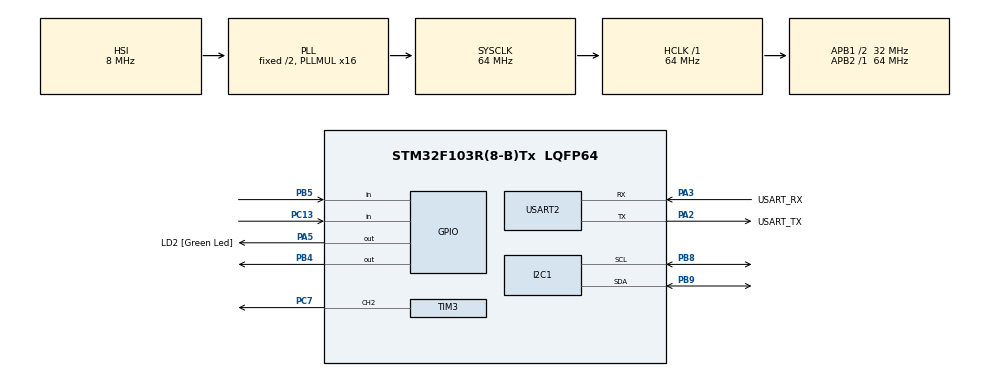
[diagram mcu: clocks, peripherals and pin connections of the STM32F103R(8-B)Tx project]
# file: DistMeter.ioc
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Mcu.Family=STM32F1
Mcu.Name=STM32F103R(8-B)Tx
Mcu.Package=LQFP64
NVIC.PriorityGroup=NVIC_PRIORITYGROUP_4
PA13.GPIO_Label=TMS
PA13.Mode=Serial_Wire
PA13.Signal=SYS_JTMS-SWDIO
PA14.GPIO_Label=TCK
PA14.Mode=Serial_Wire
PA14.Signal=SYS_JTCK-SWCLK
PA2.GPIO_Label=USART_TX
PA2.GPIO_Mode=GPIO_MODE_AF_PP
PA2.GPIO_PuPd=GPIO_NOPULL
PA2.GPIO_Speed=GPIO_SPEED_FREQ_LOW
PA2.Mode=Asynchronous
PA2.Signal=USART2_TX
PA3.GPIO_Label=USART_RX
PA3.GPIO_Mode=GPIO_MODE_AF_PP
PA3.GPIO_PuPd=GPIO_NOPULL
PA3.GPIO_Speed=GPIO_SPEED_FREQ_LOW
PA3.Mode=Asynchronous
PA3.Signal=USART2_RX
PA5.GPIO_Label=LD2 [Green Led]
PA5.GPIO_ModeDefaultOutputPP=GPIO_MODE_OUTPUT_PP
PA5.GPIO_PuPd=GPIO_NOPULL
PA5.GPIO_Speed=GPIO_SPEED_FREQ_LOW
PA5.Signal=GPIO_Output
PB3.GPIO_Label=SWO
PB3.Signal=SYS_JTDO-TRACESWO
PB4.Signal=GPIO_Output
PB5.Signal=GPIO_Input
PB8.Mode=I2C
PB8.Signal=I2C1_SCL
PB9.Mode=I2C
PB9.Signal=I2C1_SDA
PC13-TAMPER-RTC.GPIO_PuPd=GPIO_PULLUP
PC13-TAMPER-RTC.Signal=GPIO_Input
PC14-OSC32_IN.Signal=RCC_OSC32_IN
PC15-OSC32_OUT.Signal=RCC_OSC32_OUT
PC7.Signal=S_TIM3_CH2
PD0-OSC_IN.Signal=RCC_OSC_IN
PD1-OSC_OUT.Signal=RCC_OSC_OUT
ProjectManager.HeapSize=0x200
ProjectManager.StackSize=0x400
ProjectManager.TargetToolchain=STM32CubeIDE
RCC.AHBFreq_Value=64000000
RCC.APB1CLKDivider=RCC_HCLK_DIV2
RCC.APB1Freq_Value=32000000
RCC.APB1TimFreq_Value=64000000
RCC.APB2Freq_Value=64000000
RCC.APB2TimFreq_Value=64000000
RCC.HCLKFreq_Value=64000000
RCC.PLLMUL=RCC_PLL_MUL16
RCC.RTCClockSelection=RCC_RTCCLKSOURCE_LSE
RCC.SYSCLKFreq_VALUE=64000000
RCC.SYSCLKSource=RCC_SYSCLKSOURCE_PLLCLK
RCC.USBFreq_Value=64000000
SH.S_TIM3_CH2.0=TIM3_CH2,PWM Generation2 CH2
TIM2.Prescaler=64-1
TIM3.Channel-PWM\ Generation2\ CH2=TIM_CHANNEL_2
TIM3.Prescaler=64-1
USART2.VirtualMode=VM_ASYNC
VP_TIM2_VS_ClockSourceINT.Mode=Internal
VP_TIM3_VS_ClockSourceINT.Mode=Internal
board=NUCLEO-F103RB

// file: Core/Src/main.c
/* USER CODE BEGIN Header */
/**
  ******************************************************************************
  * @file           : main.c
  * @brief          : Main program body
  ******************************************************************************
  * @attention
  *
  * Copyright (c) 2026 STMicroelectronics.
  * All rights reserved.
  *
  * This software is licensed under terms that can be found in the LICENSE file
  * in the root directory of this software component.
  * If no LICENSE file comes with this software, it is provided AS-IS.
  *
  ******************************************************************************
  */
/* USER CODE END Header */
#include "main.h"

/* USER CODE BEGIN Includes */
#include "uart2_printf.h"
#include "liquidcrystal_i2c.h"
#include "delay_us.h"
/* USER CODE END Includes */

/* USER CODE BEGIN PD */
#define ON 0
#define OFF 1
#define HIGH 1
#define LOW 0
/* USER CODE END PD */

I2C_HandleTypeDef hi2c1;

TIM_HandleTypeDef htim2;
TIM_HandleTypeDef htim3;

UART_HandleTypeDef huart2;

/* USER CODE BEGIN PV */
uint8_t debounce_delay = 160;
uint8_t sw = 1;
/* USER CODE END PV */

void SystemClock_Config(void);
static void MX_GPIO_Init(void);
static void MX_TIM2_Init(void);
static void MX_TIM3_Init(void);
static void MX_USART2_UART_Init(void);
static void MX_I2C1_Init(void);
/* USER CODE BEGIN PFP */
void trig(void);
uint16_t echo(void);
/* USER CODE END PFP */

int main(void)
{

  /* MCU Configuration--------------------------------------------------------*/

  /* Reset of all peripherals, Initializes the Flash interface and the Systick. */
  HAL_Init();

  /* Configure the system clock */
  SystemClock_Config();

  /* Initialize all configured peripherals */
  MX_GPIO_Init();
  MX_TIM2_Init();
  MX_TIM3_Init();
  MX_USART2_UART_Init();
  MX_I2C1_Init();
  /* USER CODE BEGIN 2 */
    LCD_INIT();
    LCD_XY(0, 0);
    LCD_PUTS("Distance Meter!");
      //printf("Distance Meter with HC-SR04!\n");
      HAL_TIM_Base_Start(&htim2);
    /* USER CODE END 2 */

  /* Infinite loop */
      /* USER CODE BEGIN WHILE */
        while (1)
        {
      	  sw = HAL_GPIO_ReadPin(GPIOC, GPIO_PIN_13);
      	  if(sw == ON){
      		  HAL_Delay(debounce_delay);
      		  sw = HAL_GPIO_ReadPin(GPIOC, GPIO_PIN_13);
      		  if(sw == ON){
      			  trig();
      			  uint16_t echo_time = echo();
      			  uint16_t dist = 17 * echo_time / 100;
      			  uint16_t e3 = dist / 1000;
      			  uint16_t e2 = dist % 1000 / 100;
      			  uint16_t e1 = dist % 1000 % 100 / 10;
      			  uint16_t e0 = dist % 1000 % 100 % 10;

      			  LCD_XY(0, 1);
      			  LCD_PUTS("    ");
      			  LCD_XY(0, 1);
      			  LCD_DATA(e3 + '0');
      			  LCD_DATA(e2 + '0');
      			  LCD_DATA(e1 + '0');
      			  LCD_DATA(e0 + '0');
      			  LCD_PUTS("(mm)");
      		  }
      	  }

      		  }
          /* USER CODE END WHILE */

  }

void SystemClock_Config(void)
{
  RCC_OscInitTypeDef RCC_OscInitStruct = {0};
  RCC_ClkInitTypeDef RCC_ClkInitStruct = {0};

  /** Initializes the RCC Oscillators according to the specified parameters
  * in the RCC_OscInitTypeDef structure.
  */
  RCC_OscInitStruct.OscillatorType = RCC_OSCILLATORTYPE_HSI;
  RCC_OscInitStruct.HSIState = RCC_HSI_ON;
  RCC_OscInitStruct.HSICalibrationValue = RCC_HSICALIBRATION_DEFAULT;
  RCC_OscInitStruct.PLL.PLLState = RCC_PLL_ON;
  RCC_OscInitStruct.PLL.PLLSource = RCC_PLLSOURCE_HSI_DIV2;
  RCC_OscInitStruct.PLL.PLLMUL = RCC_PLL_MUL16;
  if (HAL_RCC_OscConfig(&RCC_OscInitStruct) != HAL_OK)
  {
    Error_Handler();
  }

  /** Initializes the CPU, AHB and APB buses clocks
  */
  RCC_ClkInitStruct.ClockType = RCC_CLOCKTYPE_HCLK|RCC_CLOCKTYPE_SYSCLK
                              |RCC_CLOCKTYPE_PCLK1|RCC_CLOCKTYPE_PCLK2;
  RCC_ClkInitStruct.SYSCLKSource = RCC_SYSCLKSOURCE_PLLCLK;
  RCC_ClkInitStruct.AHBCLKDivider = RCC_SYSCLK_DIV1;
  RCC_ClkInitStruct.APB1CLKDivider = RCC_HCLK_DIV2;
  RCC_ClkInitStruct.APB2CLKDivider = RCC_HCLK_DIV1;

  if (HAL_RCC_ClockConfig(&RCC_ClkInitStruct, FLASH_LATENCY_2) != HAL_OK)
  {
    Error_Handler();
  }
}

static void MX_I2C1_Init(void)
{

  hi2c1.Instance = I2C1;
  hi2c1.Init.ClockSpeed = 100000;
  hi2c1.Init.DutyCycle = I2C_DUTYCYCLE_2;
  hi2c1.Init.OwnAddress1 = 0;
  hi2c1.Init.AddressingMode = I2C_ADDRESSINGMODE_7BIT;
  hi2c1.Init.DualAddressMode = I2C_DUALADDRESS_DISABLE;
  hi2c1.Init.OwnAddress2 = 0;
  hi2c1.Init.GeneralCallMode = I2C_GENERALCALL_DISABLE;
  hi2c1.Init.NoStretchMode = I2C_NOSTRETCH_DISABLE;
  if (HAL_I2C_Init(&hi2c1) != HAL_OK)
  {
    Error_Handler();
  }

}

static void MX_TIM2_Init(void)
{

  TIM_ClockConfigTypeDef sClockSourceConfig = {0};
  TIM_MasterConfigTypeDef sMasterConfig = {0};

  htim2.Instance = TIM2;
  htim2.Init.Prescaler = 64-1;
  htim2.Init.CounterMode = TIM_COUNTERMODE_UP;
  htim2.Init.Period = 65535;
  htim2.Init.ClockDivision = TIM_CLOCKDIVISION_DIV1;
  htim2.Init.AutoReloadPreload = TIM_AUTORELOAD_PRELOAD_DISABLE;
  if (HAL_TIM_Base_Init(&htim2) != HAL_OK)
  {
    Error_Handler();
  }
  sClockSourceConfig.ClockSource = TIM_CLOCKSOURCE_INTERNAL;
  if (HAL_TIM_ConfigClockSource(&htim2, &sClockSourceConfig) != HAL_OK)
  {
    Error_Handler();
  }
  sMasterConfig.MasterOutputTrigger = TIM_TRGO_RESET;
  sMasterConfig.MasterSlaveMode = TIM_MASTERSLAVEMODE_DISABLE;
  if (HAL_TIMEx_MasterConfigSynchronization(&htim2, &sMasterConfig) != HAL_OK)
  {
    Error_Handler();
  }

}

static void MX_TIM3_Init(void)
{

  TIM_ClockConfigTypeDef sClockSourceConfig = {0};
  TIM_MasterConfigTypeDef sMasterConfig = {0};
  TIM_OC_InitTypeDef sConfigOC = {0};

  htim3.Instance = TIM3;
  htim3.Init.Prescaler = 64-1;
  htim3.Init.CounterMode = TIM_COUNTERMODE_UP;
  htim3.Init.Period = 65535;
  htim3.Init.ClockDivision = TIM_CLOCKDIVISION_DIV1;
  htim3.Init.AutoReloadPreload = TIM_AUTORELOAD_PRELOAD_DISABLE;
  if (HAL_TIM_Base_Init(&htim3) != HAL_OK)
  {
    Error_Handler();
  }
  sClockSourceConfig.ClockSource = TIM_CLOCKSOURCE_INTERNAL;
  if (HAL_TIM_ConfigClockSource(&htim3, &sClockSourceConfig) != HAL_OK)
  {
    Error_Handler();
  }
  if (HAL_TIM_PWM_Init(&htim3) != HAL_OK)
  {
    Error_Handler();
  }
  sMasterConfig.MasterOutputTrigger = TIM_TRGO_RESET;
  sMasterConfig.MasterSlaveMode = TIM_MASTERSLAVEMODE_DISABLE;
  if (HAL_TIMEx_MasterConfigSynchronization(&htim3, &sMasterConfig) != HAL_OK)
  {
    Error_Handler();
  }
  sConfigOC.OCMode = TIM_OCMODE_PWM1;
  sConfigOC.Pulse = 0;
  sConfigOC.OCPolarity = TIM_OCPOLARITY_HIGH;
  sConfigOC.OCFastMode = TIM_OCFAST_DISABLE;
  if (HAL_TIM_PWM_ConfigChannel(&htim3, &sConfigOC, TIM_CHANNEL_2) != HAL_OK)
  {
    Error_Handler();
  }
  HAL_TIM_MspPostInit(&htim3);

}

static void MX_USART2_UART_Init(void)
{

  huart2.Instance = USART2;
  huart2.Init.BaudRate = 115200;
  huart2.Init.WordLength = UART_WORDLENGTH_8B;
  huart2.Init.StopBits = UART_STOPBITS_1;
  huart2.Init.Parity = UART_PARITY_NONE;
  huart2.Init.Mode = UART_MODE_TX_RX;
  huart2.Init.HwFlowCtl = UART_HWCONTROL_NONE;
  huart2.Init.OverSampling = UART_OVERSAMPLING_16;
  if (HAL_UART_Init(&huart2) != HAL_OK)
  {
    Error_Handler();
  }

}

static void MX_GPIO_Init(void)
{
  GPIO_InitTypeDef GPIO_InitStruct = {0};

  /* GPIO Ports Clock Enable */
  __HAL_RCC_GPIOC_CLK_ENABLE();
  __HAL_RCC_GPIOD_CLK_ENABLE();
  __HAL_RCC_GPIOA_CLK_ENABLE();
  __HAL_RCC_GPIOB_CLK_ENABLE();

  /*Configure GPIO pin Output Level */
  HAL_GPIO_WritePin(LD2_GPIO_Port, LD2_Pin, GPIO_PIN_RESET);

  /*Configure GPIO pin Output Level */
  HAL_GPIO_WritePin(GPIOB, GPIO_PIN_4, GPIO_PIN_RESET);

  /*Configure GPIO pin : PC13 */
  GPIO_InitStruct.Pin = GPIO_PIN_13;
  GPIO_InitStruct.Mode = GPIO_MODE_INPUT;
  GPIO_InitStruct.Pull = GPIO_PULLUP;
  HAL_GPIO_Init(GPIOC, &GPIO_InitStruct);

  /*Configure GPIO pin : LD2_Pin */
  GPIO_InitStruct.Pin = LD2_Pin;
  GPIO_InitStruct.Mode = GPIO_MODE_OUTPUT_PP;
  GPIO_InitStruct.Pull = GPIO_NOPULL;
  GPIO_InitStruct.Speed = GPIO_SPEED_FREQ_LOW;
  HAL_GPIO_Init(LD2_GPIO_Port, &GPIO_InitStruct);

  /*Configure GPIO pin : PB4 */
  GPIO_InitStruct.Pin = GPIO_PIN_4;
  GPIO_InitStruct.Mode = GPIO_MODE_OUTPUT_PP;
  GPIO_InitStruct.Pull = GPIO_NOPULL;
  GPIO_InitStruct.Speed = GPIO_SPEED_FREQ_LOW;
  HAL_GPIO_Init(GPIOB, &GPIO_InitStruct);

  /*Configure GPIO pin : PB5 */
  GPIO_InitStruct.Pin = GPIO_PIN_5;
  GPIO_InitStruct.Mode = GPIO_MODE_INPUT;
  GPIO_InitStruct.Pull = GPIO_NOPULL;
  HAL_GPIO_Init(GPIOB, &GPIO_InitStruct);

}

/* USER CODE BEGIN 4 */
void trig()
{
	HAL_GPIO_WritePin(GPIOB, GPIO_PIN_4, HIGH);
	delay_us(10);
	HAL_GPIO_WritePin(GPIOB, GPIO_PIN_4, LOW);
}

uint16_t echo()
{
	uint16_t echo_time = 0;
	uint16_t timeout_start = __HAL_TIM_GET_COUNTER(&htim2);
	while(HAL_GPIO_ReadPin(GPIOB, GPIO_PIN_5)== LOW)
	{
		if ((uint16_t)(__HAL_TIM_GET_COUNTER(&htim2) - timeout_start) > 30000)
		            return 0;
		else;
	}
	uint16_t start = __HAL_TIM_GET_COUNTER(&htim2);
	while(HAL_GPIO_ReadPin(GPIOB, GPIO_PIN_5)== HIGH)
	{
		if ((uint16_t)(__HAL_TIM_GET_COUNTER(&htim2) - start) > 30000)
				            return 0;
		else;
	}
	uint16_t end = __HAL_TIM_GET_COUNTER(&htim2);
	echo_time = (uint16_t)(end - start);
	if( echo_time >= 240 && echo_time <= 23000 )
		return echo_time;
	else
		return 0;
}
/* USER CODE END 4 */

void Error_Handler(void)
{
  __disable_irq();
  while (1)
  {
  }
}
